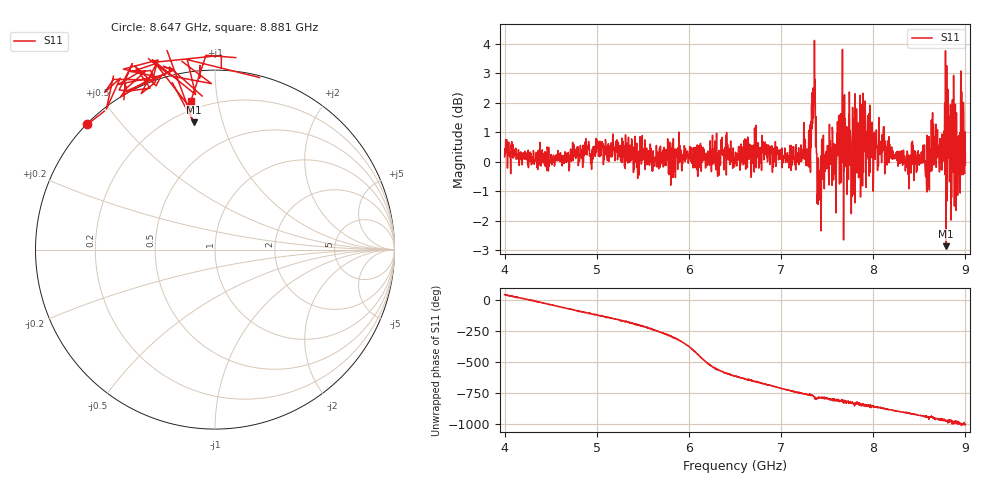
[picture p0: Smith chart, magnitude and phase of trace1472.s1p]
! Created with skrf 1.8.0 (http://scikit-rf.org).
# Hz S RI R 50.0
!freq ReS11 ImS11
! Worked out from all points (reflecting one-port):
!   1601 points, 4 GHz to 9 GHz, reference 50 ohm
!   lowest |S11| = -2.9 dB at 8.791 GHz (marker M1), VSWR 6.12, Z = 13.7 + j40.4 ohm
!   phase of S11 starts at 48 deg and turns -1057 deg over the sweep
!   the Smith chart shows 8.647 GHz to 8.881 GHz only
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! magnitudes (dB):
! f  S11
! 4 GHz  0.2
! 4.625 GHz  -0.1
! 5.25 GHz  0.2
! 5.875 GHz  0.4
! 6.5 GHz  0.0
! 6.819 GHz  0.5
! 7.125 GHz  0.3
! 7.294 GHz  0.1
! 7.353 GHz  1.9
! 7.412 GHz  -1.3
! 7.512 GHz  0.4
! 7.594 GHz  0.1
! 7.65 GHz  1.6
! 7.688 GHz  2.3
! 7.703 GHz  1.2
! 7.75 GHz  1.1
! 7.775 GHz  1.8
! 7.962 GHz  1.9
! 7.981 GHz  0.7
! 8.119 GHz  1.2
! 8.375 GHz  0.0
! 8.584 GHz  0.9
! 8.656 GHz  1.0
! 8.766 GHz  0.9
! 8.791 GHz  -2.9
! 8.919 GHz  -0.3
! 8.972 GHz  0.9
! 9 GHz  -0.1
